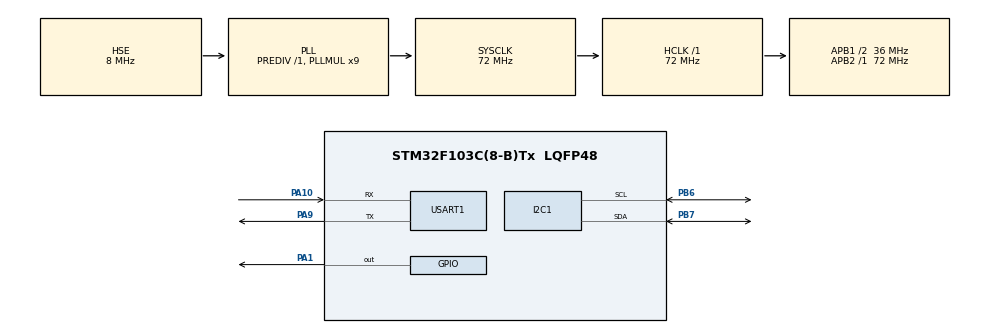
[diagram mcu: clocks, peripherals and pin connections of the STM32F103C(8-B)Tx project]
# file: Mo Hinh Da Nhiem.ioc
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FREERTOS.CountingSemaphores01=myCountingSem01,4,Dynamic,NULL
FREERTOS.Tasks01=readTemperature,2,128,ReadTempTask,Default,NULL,Dynamic,NULL,NULL;readHumidity,0,128,ReadHumiTask,Default,NULL,Dynamic,NULL,NULL;CycleTask,-2,128,CycleTask03,Default,NULL,Dynamic,NULL,NULL;uart_Task,-1,128,Task_UART,Default,NULL,Dynamic,NULL,NULL
FREERTOS.configUSE_COUNTING_SEMAPHORES=1
FREERTOS.configUSE_NEWLIB_REENTRANT=1
Mcu.Family=STM32F1
Mcu.Name=STM32F103C(8-B)Tx
Mcu.Package=LQFP48
NVIC.PriorityGroup=NVIC_PRIORITYGROUP_4
NVIC.TIM2_IRQn=true\:15\:0\:false\:false\:true\:false\:false\:true\:true
NVIC.TimeBase=TIM2_IRQn
NVIC.TimeBaseIP=TIM2
NVIC.USART1_IRQn=true\:6\:0\:true\:false\:true\:true\:true\:true\:true
PA1.Signal=GPIO_Output
PA10.Mode=Asynchronous
PA10.Signal=USART1_RX
PA13.Mode=Serial_Wire
PA13.Signal=SYS_JTMS-SWDIO
PA14.Mode=Serial_Wire
PA14.Signal=SYS_JTCK-SWCLK
PA9.Mode=Asynchronous
PA9.Signal=USART1_TX
PB6.Mode=I2C
PB6.Signal=I2C1_SCL
PB7.Mode=I2C
PB7.Signal=I2C1_SDA
PD0-OSC_IN.Mode=HSE-External-Oscillator
PD0-OSC_IN.Signal=RCC_OSC_IN
PD1-OSC_OUT.Mode=HSE-External-Oscillator
PD1-OSC_OUT.Signal=RCC_OSC_OUT
ProjectManager.HeapSize=0x200
ProjectManager.StackSize=0x400
ProjectManager.TargetToolchain=STM32CubeIDE
RCC.AHBFreq_Value=72000000
RCC.APB1CLKDivider=RCC_HCLK_DIV2
RCC.APB1Freq_Value=36000000
RCC.APB1TimFreq_Value=72000000
RCC.APB2Freq_Value=72000000
RCC.APB2TimFreq_Value=72000000
RCC.HCLKFreq_Value=72000000
RCC.PLLMUL=RCC_PLL_MUL9
RCC.PLLSourceVirtual=RCC_PLLSOURCE_HSE
RCC.SYSCLKFreq_VALUE=72000000
RCC.SYSCLKSource=RCC_SYSCLKSOURCE_PLLCLK
RCC.USBFreq_Value=72000000
TIM1.Prescaler=71
USART1.VirtualMode=VM_ASYNC
VP_FREERTOS_VS_CMSIS_V1.Mode=CMSIS_V1
VP_SYS_VS_tim2.Mode=TIM2
VP_TIM1_VS_ClockSourceINT.Mode=Internal
board=custom

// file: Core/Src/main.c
/* USER CODE BEGIN Header */
/**
  ******************************************************************************
  * @file           : main.c
  * @brief          : Main program body
  ******************************************************************************
  * @attention
  *
  * Copyright (c) 2024 STMicroelectronics.
  * All rights reserved.
  *
  * This software is licensed under terms that can be found in the LICENSE file
  * in the root directory of this software component.
  * If no LICENSE file comes with this software, it is provided AS-IS.
  *
  ******************************************************************************
  */
/* USER CODE END Header */
#include "main.h"
#include "cmsis_os.h"

/* USER CODE BEGIN Includes */
#include "stdio.h"
#include "mk_dht11.h"
#include "i2c-lcd.h"
/* USER CODE END Includes */

I2C_HandleTypeDef hi2c1;

TIM_HandleTypeDef htim1;

UART_HandleTypeDef huart1;

osThreadId readTemperatureHandle;
osThreadId readHumidityHandle;
osThreadId CycleTaskHandle;
osThreadId uart_TaskHandle;
osSemaphoreId myCountingSem01Handle;
/* USER CODE BEGIN PV */
//Khai báo các biến
int Temp, Humi, t=1;
dht11_t dht;
char str[20], stt[20];// chuỗi để in ra nhiệt độ, độ ẩm
uint8_t rxData[2];
char kytu[] = { 0x06, 0x09, 0x09, 0x06, 0x00, 0x00, 0x00, 0x00 };//ký tự nhiệt độ
/* USER CODE END PV */

void SystemClock_Config(void);
static void MX_GPIO_Init(void);
static void MX_I2C1_Init(void);
static void MX_TIM1_Init(void);
static void MX_USART1_UART_Init(void);
void ReadTempTask(void const * argument);
void ReadHumiTask(void const * argument);
void CycleTask03(void const * argument);
void Task_UART(void const * argument);

/* USER CODE BEGIN 0 */
void HAL_UART_RxCpltCallback(UART_HandleTypeDef *huart)// Xử lý ngắt khi nhận dữ liệu qua UART
{
		 if(huart->Instance == huart1.Instance)
		 {
		   HAL_UART_Transmit(&huart1," Updating Cycle...\n",sizeof(" Updating cycle...\n"), 10);//Gửi lại tín hiệu xác nhận đã có ngắt
		   HAL_UART_Receive_IT(&huart1,rxData, 2);// Kích hoạt lại ngắt nhận dữ liệu
		   t= atoi(rxData);// Chuyển dữ liệu nhận được sang dạng số nguyên
		   osSemaphoreRelease(myCountingSem01Handle);
		 }
	}
/* USER CODE END 0 */

int main(void)
{

  /* MCU Configuration--------------------------------------------------------*/

  /* Reset of all peripherals, Initializes the Flash interface and the Systick. */
  HAL_Init();

  /* Configure the system clock */
  SystemClock_Config();

  /* Initialize all configured peripherals */
  MX_GPIO_Init();
  MX_I2C1_Init();
  MX_TIM1_Init();
  MX_USART1_UART_Init();
  /* USER CODE BEGIN 2 */
  lcd_init();
  HAL_UART_Receive_IT(&huart1,rxData, 2);// G�?i ngắt nhận dữ liệu
  HAL_TIM_Base_Start(&htim1);
  init_dht11(&dht,&htim1,GPIOA, GPIO_PIN_1);// Khởi tạo cho cảm biến DHT11
  lcd_send_cmd(0x40);
  for(int i=0;i<8;i++)
  {
	lcd_send_data(kytu[i]);
  }
  /* USER CODE END 2 */

  /* Create the semaphores(s) */
  /* definition and creation of myCountingSem01 */
  osSemaphoreDef(myCountingSem01);
  myCountingSem01Handle = osSemaphoreCreate(osSemaphore(myCountingSem01), 4);

  /* Create the thread(s) */
  /* definition and creation of readTemperature */
  osThreadDef(readTemperature, ReadTempTask, osPriorityHigh, 0, 128);
  readTemperatureHandle = osThreadCreate(osThread(readTemperature), NULL);

  /* definition and creation of readHumidity */
  osThreadDef(readHumidity, ReadHumiTask, osPriorityNormal, 0, 128);
  readHumidityHandle = osThreadCreate(osThread(readHumidity), NULL);

  /* definition and creation of CycleTask */
  osThreadDef(CycleTask, CycleTask03, osPriorityLow, 0, 128);
  CycleTaskHandle = osThreadCreate(osThread(CycleTask), NULL);

  /* definition and creation of uart_Task */
  osThreadDef(uart_Task, Task_UART, osPriorityBelowNormal, 0, 128);
  uart_TaskHandle = osThreadCreate(osThread(uart_Task), NULL);

  /* Start scheduler */
  osKernelStart();

  /* We should never get here as control is now taken by the scheduler */
  /* Infinite loop */
  while (1)
  {

  }
}

void SystemClock_Config(void)
{
  RCC_OscInitTypeDef RCC_OscInitStruct = {0};
  RCC_ClkInitTypeDef RCC_ClkInitStruct = {0};

  /** Initializes the RCC Oscillators according to the specified parameters
  * in the RCC_OscInitTypeDef structure.
  */
  RCC_OscInitStruct.OscillatorType = RCC_OSCILLATORTYPE_HSE;
  RCC_OscInitStruct.HSEState = RCC_HSE_ON;
  RCC_OscInitStruct.HSEPredivValue = RCC_HSE_PREDIV_DIV1;
  RCC_OscInitStruct.HSIState = RCC_HSI_ON;
  RCC_OscInitStruct.PLL.PLLState = RCC_PLL_ON;
  RCC_OscInitStruct.PLL.PLLSource = RCC_PLLSOURCE_HSE;
  RCC_OscInitStruct.PLL.PLLMUL = RCC_PLL_MUL9;
  if (HAL_RCC_OscConfig(&RCC_OscInitStruct) != HAL_OK)
  {
    Error_Handler();
  }

  /** Initializes the CPU, AHB and APB buses clocks
  */
  RCC_ClkInitStruct.ClockType = RCC_CLOCKTYPE_HCLK|RCC_CLOCKTYPE_SYSCLK
                              |RCC_CLOCKTYPE_PCLK1|RCC_CLOCKTYPE_PCLK2;
  RCC_ClkInitStruct.SYSCLKSource = RCC_SYSCLKSOURCE_PLLCLK;
  RCC_ClkInitStruct.AHBCLKDivider = RCC_SYSCLK_DIV1;
  RCC_ClkInitStruct.APB1CLKDivider = RCC_HCLK_DIV2;
  RCC_ClkInitStruct.APB2CLKDivider = RCC_HCLK_DIV1;

  if (HAL_RCC_ClockConfig(&RCC_ClkInitStruct, FLASH_LATENCY_2) != HAL_OK)
  {
    Error_Handler();
  }
}

static void MX_I2C1_Init(void)
{

  hi2c1.Instance = I2C1;
  hi2c1.Init.ClockSpeed = 100000;
  hi2c1.Init.DutyCycle = I2C_DUTYCYCLE_2;
  hi2c1.Init.OwnAddress1 = 0;
  hi2c1.Init.AddressingMode = I2C_ADDRESSINGMODE_7BIT;
  hi2c1.Init.DualAddressMode = I2C_DUALADDRESS_DISABLE;
  hi2c1.Init.OwnAddress2 = 0;
  hi2c1.Init.GeneralCallMode = I2C_GENERALCALL_DISABLE;
  hi2c1.Init.NoStretchMode = I2C_NOSTRETCH_DISABLE;
  if (HAL_I2C_Init(&hi2c1) != HAL_OK)
  {
    Error_Handler();
  }

}

static void MX_TIM1_Init(void)
{

  TIM_ClockConfigTypeDef sClockSourceConfig = {0};
  TIM_MasterConfigTypeDef sMasterConfig = {0};

  htim1.Instance = TIM1;
  htim1.Init.Prescaler = 71;
  htim1.Init.CounterMode = TIM_COUNTERMODE_UP;
  htim1.Init.Period = 65535;
  htim1.Init.ClockDivision = TIM_CLOCKDIVISION_DIV1;
  htim1.Init.RepetitionCounter = 0;
  htim1.Init.AutoReloadPreload = TIM_AUTORELOAD_PRELOAD_DISABLE;
  if (HAL_TIM_Base_Init(&htim1) != HAL_OK)
  {
    Error_Handler();
  }
  sClockSourceConfig.ClockSource = TIM_CLOCKSOURCE_INTERNAL;
  if (HAL_TIM_ConfigClockSource(&htim1, &sClockSourceConfig) != HAL_OK)
  {
    Error_Handler();
  }
  sMasterConfig.MasterOutputTrigger = TIM_TRGO_RESET;
  sMasterConfig.MasterSlaveMode = TIM_MASTERSLAVEMODE_DISABLE;
  if (HAL_TIMEx_MasterConfigSynchronization(&htim1, &sMasterConfig) != HAL_OK)
  {
    Error_Handler();
  }

}

static void MX_USART1_UART_Init(void)
{

  huart1.Instance = USART1;
  huart1.Init.BaudRate = 115200;
  huart1.Init.WordLength = UART_WORDLENGTH_8B;
  huart1.Init.StopBits = UART_STOPBITS_1;
  huart1.Init.Parity = UART_PARITY_NONE;
  huart1.Init.Mode = UART_MODE_TX_RX;
  huart1.Init.HwFlowCtl = UART_HWCONTROL_NONE;
  huart1.Init.OverSampling = UART_OVERSAMPLING_16;
  if (HAL_UART_Init(&huart1) != HAL_OK)
  {
    Error_Handler();
  }

}

static void MX_GPIO_Init(void)
{
  GPIO_InitTypeDef GPIO_InitStruct = {0};

  /* GPIO Ports Clock Enable */
  __HAL_RCC_GPIOD_CLK_ENABLE();
  __HAL_RCC_GPIOA_CLK_ENABLE();
  __HAL_RCC_GPIOB_CLK_ENABLE();

  /*Configure GPIO pin Output Level */
  HAL_GPIO_WritePin(GPIOA, GPIO_PIN_1, GPIO_PIN_RESET);

  /*Configure GPIO pin : PA1 */
  GPIO_InitStruct.Pin = GPIO_PIN_1;
  GPIO_InitStruct.Mode = GPIO_MODE_OUTPUT_PP;
  GPIO_InitStruct.Pull = GPIO_NOPULL;
  GPIO_InitStruct.Speed = GPIO_SPEED_FREQ_LOW;
  HAL_GPIO_Init(GPIOA, &GPIO_InitStruct);

}

/* USER CODE BEGIN 4 */
void display_Cycle()// Hiển thị chu kỳ lấy mẫu
{
	lcd_put_cur(1, 11);
	lcd_send_string("T:");
	lcd_put_cur(1, 13);
	if(t==1){
		lcd_send_string("01");
	}
	else
	{
	lcd_send_string(rxData);
	}
	lcd_put_cur(1, 15);
	lcd_send_string("s");
}

void readTemperature(void)// �?�?c và gửi dữ liệu nhiệt độ
{
	readDHT11(&dht);
	Temp = dht.temperature;
	itoa(Temp,str,10);
	lcd_put_cur(0,0);
	lcd_send_string("Temp: ");
	lcd_put_cur(0, 6);
	lcd_send_string(str);
	lcd_put_cur(0, 8);
	lcd_send_data(0);
	lcd_put_cur(0, 9);
	lcd_send_string("C");
}

void readHumidity(void)// �?�?c và gửi dữ liệu độ ẩm
{
	readDHT11(&dht);
	Humi = dht.humidty;
	itoa(Humi,stt,10);
	lcd_put_cur(1,0);
	lcd_send_string("Humi: ");
	lcd_put_cur(1, 6);
	lcd_send_string(stt);
	lcd_put_cur(1, 9);
	lcd_send_string("%");
}
void update_Cycle(void)
{
	display_Cycle();
}
void UART_Transmit(void)
{
	HAL_UART_Transmit(&huart1, "Temperature: ", sizeof("Temperature: "), 10);
	HAL_UART_Transmit(&huart1, (uint8_t*) str, sizeof(str), 10);
	HAL_UART_Transmit(&huart1, " C", sizeof(" C"), 10);
	HAL_UART_Transmit(&huart1, " Humidity: ", sizeof(" Humidity: "), 10);
	HAL_UART_Transmit(&huart1, (uint8_t*) stt, sizeof(stt), 10);
	HAL_UART_Transmit(&huart1, " %\n", sizeof(" %\n"), 10);
}
/* USER CODE END 4 */

void ReadTempTask(void const * argument)
{
  /* USER CODE BEGIN 5 */
  /* Infinite loop */
  for(;;)
  {
	  //display_Cycle();
	  readTemperature();
	  osSemaphoreRelease(myCountingSem01Handle);
	  osDelay(t*1000);
  }
  /* USER CODE END 5 */
}

void ReadHumiTask(void const * argument)
{
  /* USER CODE BEGIN ReadHumiTask */
  /* Infinite loop */
  for(;;)
  {
	  readHumidity();
	  osSemaphoreRelease(myCountingSem01Handle);
	  osDelay(t*1000);
  }
  /* USER CODE END ReadHumiTask */
}

void CycleTask03(void const * argument)
{
  /* USER CODE BEGIN CycleTask03 */
  /* Infinite loop */
  for(;;)
  {
	  osSemaphoreWait(myCountingSem01Handle, osWaitForever);
	  osSemaphoreWait(myCountingSem01Handle, osWaitForever);
	  osSemaphoreWait(myCountingSem01Handle, osWaitForever);
	  osSemaphoreWait(myCountingSem01Handle, osWaitForever);
	  update_Cycle();

	 // HAL_UART_Transmit(&huart1, "task3\n", sizeof("task3\n"),10);
    //osDelay(100);
  }
  /* USER CODE END CycleTask03 */
}

void Task_UART(void const * argument)
{
  /* USER CODE BEGIN Task_UART */
  /* Infinite loop */
  for(;;)
  {
	  UART_Transmit();
	  osSemaphoreRelease(myCountingSem01Handle);
    osDelay(t*1000);
  }
  /* USER CODE END Task_UART */
}

void HAL_TIM_PeriodElapsedCallback(TIM_HandleTypeDef *htim)
{
  if (htim->Instance == TIM2) {
    HAL_IncTick();
  }
}

void Error_Handler(void)
{
  __disable_irq();
  while (1)
  {
  }
}
